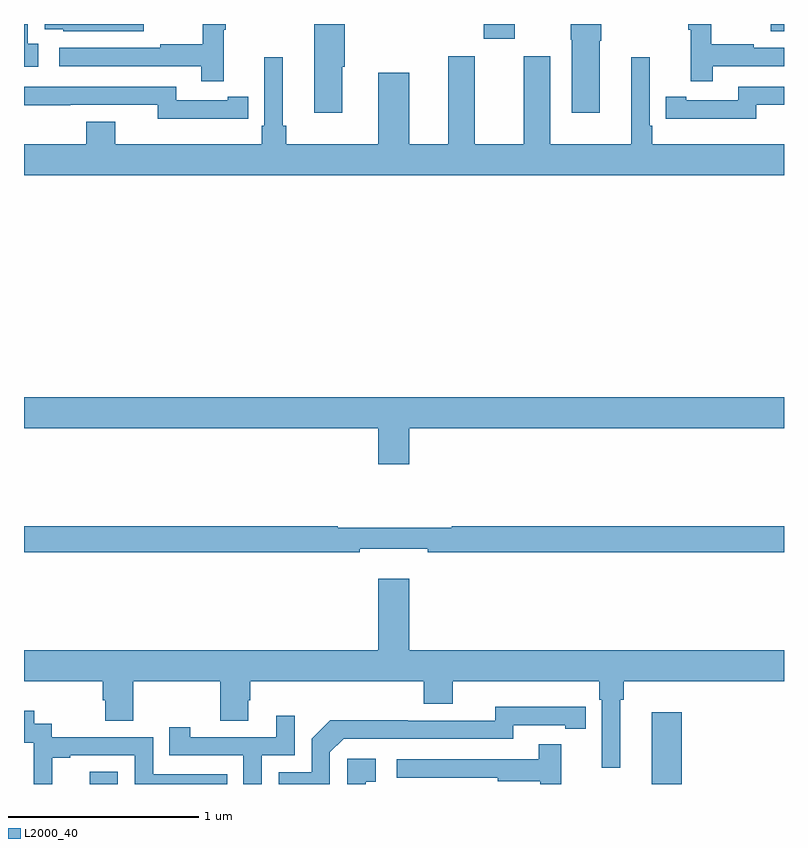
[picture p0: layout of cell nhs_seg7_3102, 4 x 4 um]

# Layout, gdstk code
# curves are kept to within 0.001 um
import gdstk
lib = gdstk.Library(unit=1e-6, precision=1e-09)
def R(c, l, rs):  # rectangles x0, y0, x1, y1
    for r in rs: c.add(gdstk.rectangle(r[:2], r[2:], *l))
def P(c, l, *ps):  # polygons
    for p in ps: c.add(gdstk.Polygon(p, *l))
L2000_40 = (2000, 40)

nhs_seg7_3102 = lib.new_cell('nhs_seg7_3102')
R(nhs_seg7_3102, L2000_40, [(307.347,1076,307.494,1076.065), (310.304,1076,310.463,1076.377), (309.419,1079.922,309.583,1080), (310.929,1079.963,311,1080)])
P(nhs_seg7_3102, L2000_40, [(310.625,1079.778),(311,1079.778),(311,1079.874),(310.841,1079.874),(310.841,1079.894),(310.618,1079.894),(310.618,1080),(310.497,1080),(310.497,1079.971),(310.508,1079.971),(310.508,1079.7),(310.625,1079.7)],
  [(308.674,1079.775),(308.687,1079.775),(308.687,1080),(308.528,1080),(308.528,1079.532),(308.674,1079.532)],
  [(307.075,1079.895),(307.02,1079.895),(307.02,1080),(307,1080),(307,1079.775),(307.075,1079.775)],
  [(310.03,1079.911),(310.038,1079.911),(310.038,1080),(309.877,1080),(309.877,1079.917),(309.884,1079.917),(309.884,1079.532),(310.03,1079.532)],
  [(307.63,1080),(307.109,1080),(307.109,1079.972),(307.206,1079.972),(307.206,1079.963),(307.63,1079.963)],
  [(308.051,1079.971),(308.062,1079.971),(308.062,1080),(307.941,1080),(307.941,1079.894),(307.717,1079.894),(307.717,1079.874),(307.185,1079.874),(307.185,1079.778),(307.933,1079.778),(307.933,1079.7),(308.051,1079.7)],
  [(311,1079.368),(310.307,1079.368),(310.307,1079.464),(310.293,1079.464),(310.293,1079.824),(310.196,1079.824),(310.196,1079.368),(309.769,1079.368),(309.769,1079.83),(309.629,1079.83),(309.629,1079.368),(309.373,1079.368),(309.373,1079.83),(309.233,1079.83),(309.233,1079.368),(309.028,1079.368),(309.028,1079.743),(308.864,1079.743),(308.864,1079.368),(308.381,1079.368),(308.381,1079.464),(308.362,1079.464),(308.362,1079.824),(308.265,1079.824),(308.265,1079.464),(308.252,1079.464),(308.252,1079.368),(307.48,1079.368),(307.48,1079.485),(307.328,1079.485),(307.328,1079.368),(307,1079.368),(307,1079.204),(311,1079.204)],
  [(308.072,1079.502),(308.18,1079.502),(308.18,1079.618),(308.072,1079.618),(308.072,1079.598),(307.8,1079.598),(307.8,1079.67),(307,1079.67),(307,1079.573),(307.244,1079.573),(307.244,1079.574),(307.704,1079.574),(307.704,1079.501),(308.072,1079.501)],
  [(310.854,1079.574),(311,1079.574),(311,1079.67),(310.758,1079.67),(310.758,1079.598),(310.486,1079.598),(310.486,1079.618),(310.378,1079.618),(310.378,1079.502),(310.486,1079.502),(310.486,1079.501),(310.854,1079.501)],
  [(309.028,1077.872),(311,1077.872),(311,1078.036),(307,1078.036),(307,1077.872),(308.864,1077.872),(308.864,1077.684),(309.028,1077.684)],
  [(308.768,1077.239),(309.124,1077.239),(309.124,1077.22),(311,1077.22),(311,1077.356),(309.25,1077.356),(309.25,1077.349),(308.65,1077.349),(308.65,1077.356),(307,1077.356),(307,1077.22),(308.768,1077.22)],
  [(310.138,1076.444),(310.157,1076.444),(310.157,1076.54),(311,1076.54),(311,1076.704),(309.028,1076.704),(309.028,1077.079),(308.864,1077.079),(308.864,1076.704),(307,1076.704),(307,1076.54),(307.415,1076.54),(307.415,1076.442),(307.427,1076.442),(307.427,1076.332),(307.575,1076.332),(307.575,1076.54),(308.032,1076.54),(308.032,1076.332),(308.179,1076.332),(308.179,1076.442),(308.192,1076.442),(308.192,1076.54),(309.104,1076.54),(309.104,1076.423),(309.256,1076.423),(309.256,1076.54),(310.028,1076.54),(310.028,1076.444),(310.041,1076.444),(310.041,1076.085),(310.138,1076.085)],
  [(308.61,1076.166),(308.682,1076.238),(309.576,1076.238),(309.576,1076.31),(309.848,1076.31),(309.848,1076.29),(309.956,1076.29),(309.956,1076.406),(309.48,1076.407),(309.48,1076.334),(309.02,1076.334),(309.02,1076.336),(308.612,1076.336),(308.514,1076.238),(308.514,1076.061),(308.34,1076.061),(308.34,1076),(308.61,1076)],
  [(307.148,1076.139),(307.243,1076.139),(307.243,1076.151),(307.584,1076.151),(307.584,1076),(308.069,1076),(308.069,1076.052),(307.68,1076.052),(307.68,1076.247),(307.146,1076.247),(307.146,1076.316),(307.054,1076.316),(307.054,1076.386),(307,1076.386),(307,1076.217),(307.05,1076.217),(307.05,1076),(307.148,1076)],
  [(308.25,1076.151),(308.424,1076.151),(308.424,1076.359),(308.327,1076.359),(308.327,1076.247),(307.876,1076.247),(307.876,1076.299),(307.765,1076.299),(307.765,1076.151),(308.154,1076.151),(308.154,1076),(308.25,1076)],
  [(309.827,1076.209),(309.709,1076.209),(309.709,1076.13),(308.961,1076.13),(308.961,1076.034),(309.493,1076.034),(309.493,1076.014),(309.717,1076.014),(309.717,1076),(309.827,1076)],
  [(308.798,1076.013),(308.851,1076.013),(308.851,1076.134),(308.7,1076.134),(308.7,1076),(308.798,1076)])

lib.write_gds('nhs_seg7_3102.gds')
